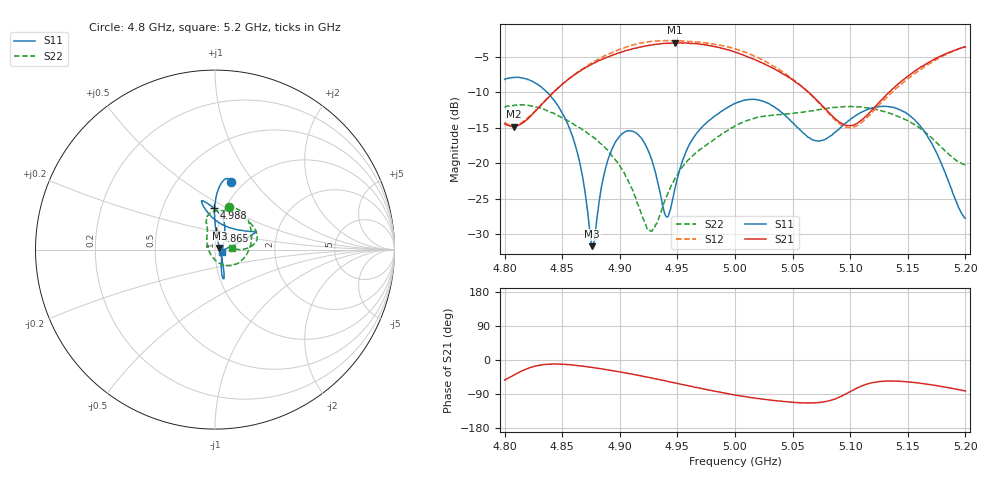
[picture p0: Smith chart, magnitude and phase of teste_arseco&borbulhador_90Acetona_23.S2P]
! Network Analyzer HP8722D
! Hewlett-Packard
! Data name: Linha & Wilkinson
! Saver's name: Rodrigo Anjos
! Comments: Teste da utilização de aquisição
! continua pelo VNA HP8722D
! Time and date: 17/4/2025 11:14
!  Frequency  S11  S21  S12  S22
# HZ  S  MA R 50
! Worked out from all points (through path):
!   401 points, 4.8 GHz to 5.2 GHz, reference 50 ohm
!   highest |S21| = -3.06 dB at 4.948 GHz (marker M1); lowest = -14.8 dB at 4.808 GHz (marker M2)
!   lowest |S11| = -31.7 dB at 4.876 GHz (marker M3), VSWR 1.05, Z = 52.5 + j0.971 ohm
!   |S11| at or under -10 dB: 4.837 GHz to end of sweep
!   |S22| runs from -29.6 to -11.7 dB; largest |S21 - S12| = 1.4
!   S11 on the Smith chart (normalised r, x): 4.8 GHz: 0.87, +0.78; 4.865 GHz: 0.99, +0.21; 4.988 GHz: 0.89, +0.43; 5.2 GHz: 1.08, -0.03
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4.8e9  0.3889 76.8  0.1893 -52.8  0.1928 82.1  0.2475 71.9
4.808e9  0.4007 79.3  0.181 -39.8  0.1843 93.9  0.2545 65.1
4.842e9  0.2826 89.2  0.3129 -10.5  0.313 122.5  0.2255 25.8
4.855e9  0.187 90.7  0.3882 -12.1  0.3882 122.7  0.1981 6.5
4.865e9  0.1033 86.9  0.4425 -15.1  0.446 121.6  0.1778 -9.0
4.867e9  0.08583 84.0  0.453 -16.1  0.4575 120.9  0.1732 -12.1
4.876e9  0.0261 20.7  0.4986 -19.7  0.5103 118.8  0.1543 -26.6
4.889e9  0.1008 -63.4  0.5569 -25.8  0.5794 114.5  0.1249 -46.0
4.903e9  0.1629 -71.8  0.6093 -33.1  0.6453 108.3  0.08746 -67.6
4.925e9  0.1209 -72.9  0.6739 -45.9  0.7137 96.0  0.0336 -142.5
4.934e9  0.06763 -57.6  0.6893 -51.7  0.7274 90.4  0.04154 161.3
4.941e9  0.04177 -6.6  0.6983 -56.0  0.7276 85.7  0.05921 137.7
4.948e9  0.06711 43.5  0.7029 -60.6  0.7259 81.3  0.07809 124.9
4.962e9  0.1425 67.6  0.696 -69.4  0.7189 72.5  0.1105 112.6
4.988e9  0.2307 91.7  0.6445 -85.6  0.6746 55.8  0.1598 108.0
5e9  0.2632 99.9  0.6051 -92.5  0.6388 48.4  0.1827 105.0
5.028e9  0.2655 105.6  0.488 -104.6  0.5111 34.0  0.2158 88.9
5.067e9  0.1468 76.5  0.2988 -113.2  0.2969 27.6  0.2331 54.4
5.1e9  0.2031 30.6  0.1835 -83.3  0.1776 60.8  0.2512 25.3
5.134e9  0.2496 23.2  0.3164 -55.5  0.3028 91.0  0.2247 8.9
5.165e9  0.1643 18.8  0.4933 -63.2  0.4787 84.9  0.1656 1.3
5.2e9  0.04092 -17.3  0.6576 -81.7  0.6607 67.6  0.09708 5.4
